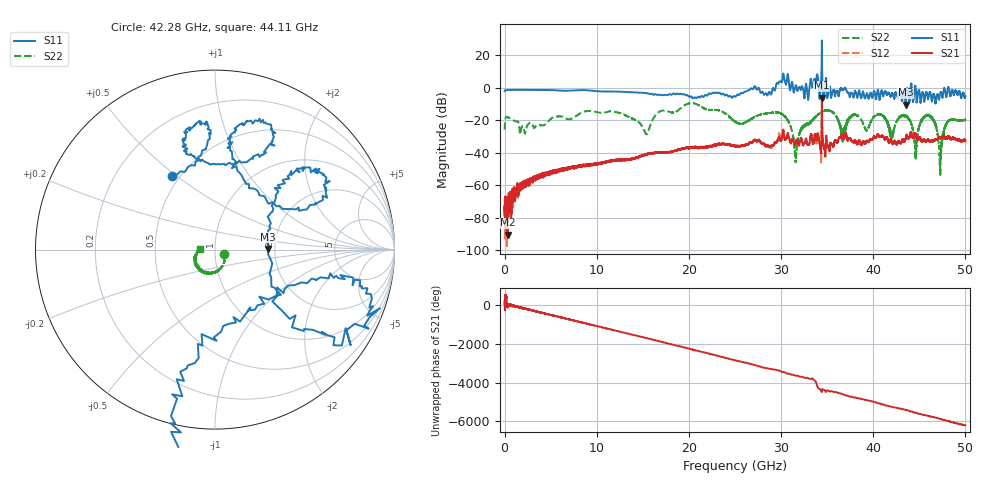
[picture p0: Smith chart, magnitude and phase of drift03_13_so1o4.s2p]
!Created with skrf (http://scikit-rf.org).
# Hz S RI R 50.0
!freq ReS11 ImS11 ReS21 ImS21 ReS12 ImS12 ReS22 ImS22
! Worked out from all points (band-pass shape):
!   10000 points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, 5.3 MHz to 50 GHz, reference 50 ohm
!   highest |S21| = -6.17 dB at 34.43 GHz (marker M1); lowest = -90.5 dB at 320.3 MHz (marker M2)
!   |S21| within 3 dB of the highest: 34.4275 GHz to 34.43508 GHz (7.579 MHz wide, 0.022 % of centre)
!   lowest |S11| = -10.5 dB at 43.53 GHz (marker M3), VSWR 1.85, Z = 92.2 + j0.842 ohm
!   |S11| at or under -10 dB: 43.50443 GHz to 43.53684 GHz (32.4 MHz wide, 0.0745 % of centre)
!   |S22| runs from -53.6 to -9.4 dB; largest |S21 - S12| = 0.14
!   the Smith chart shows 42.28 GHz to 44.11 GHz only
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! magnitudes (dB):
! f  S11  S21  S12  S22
! 5.3 MHz  -2.1  -75.9  -80.6  -25.8
! 320.3 MHz  -1.4  -90.5  -71.6  -18.1
! 2.575 GHz  -1.4  -60.1  -57.1  -22.3
! 8.34 GHz  -1.5  -47.5  -48.2  -15.4
! 15.39 GHz  -3.5  -41.1  -40.9  -28.6
! 16.67 GHz  -4.4  -40.0  -40.1  -15.3
! 20.45 GHz  -6.5  -37.2  -36.6  -9.5
! 25.01 GHz  -5.5  -35.7  -36.0  -20.9
! 29.97 GHz  3.9  -32.6  -32.5  -15.8
! 31.61 GHz  1.5  -33.4  -33.6  -44.7
! 33.34 GHz  2.4  -30.2  -30.5  -20.2
! 34.43 GHz  29.1  -6.2  -8.0  -14.6
! 36.69 GHz  -1.2  -29.9  -29.8  -28.3
! 37.93 GHz  -4.4  -33.2  -33.2  -16.8
! 41.67 GHz  -3.3  -33.4  -33.4  -23.5
! 43.53 GHz  -10.5  -31.2  -31.3  -17.0
! 44.61 GHz  -1.1  -28.8  -29.0  -41.7
! 45.27 GHz  -4.0  -33.0  -32.9  -19.9
! 46.28 GHz  -5.6  -32.7  -32.9  -17.5
! 47.29 GHz  -3.1  -30.8  -30.8  -48.7
! 48.12 GHz  0.1  -30.2  -30.1  -20.9
! 50 GHz  -5.4  -32.4  -32.4  -19.6
